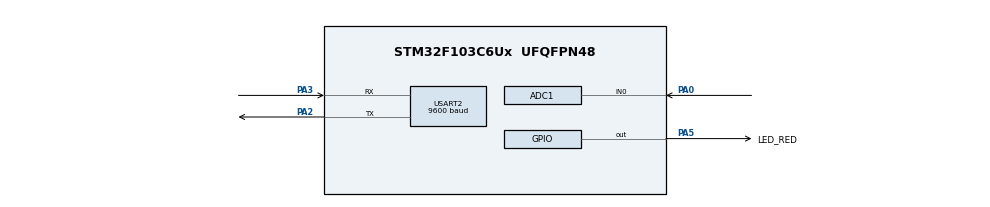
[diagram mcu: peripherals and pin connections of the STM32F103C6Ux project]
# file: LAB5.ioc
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ADC1.Channel-0\#ChannelRegularConversion=ADC_CHANNEL_0
ADC1.ContinuousConvMode=ENABLE
ADC1.NbrOfConversionFlag=1
ADC1.Rank-0\#ChannelRegularConversion=1
ADC1.SamplingTime-0\#ChannelRegularConversion=ADC_SAMPLETIME_1CYCLE_5
ADC1.master=1
Mcu.Family=STM32F1
Mcu.Name=STM32F103C6Ux
Mcu.Package=UFQFPN48
NVIC.PriorityGroup=NVIC_PRIORITYGROUP_4
NVIC.USART2_IRQn=true\:0\:0\:false\:false\:true\:true\:true
PA0-WKUP.Signal=ADCx_IN0
PA2.Mode=Asynchronous
PA2.Signal=USART2_TX
PA3.Mode=Asynchronous
PA3.Signal=USART2_RX
PA5.GPIO_Label=LED_RED
PA5.Signal=GPIO_Output
ProjectManager.HeapSize=0x200
ProjectManager.StackSize=0x400
ProjectManager.TargetToolchain=STM32CubeIDE
RCC.APB1Freq_Value=8000000
RCC.APB2Freq_Value=8000000
SH.ADCx_IN0.0=ADC1_IN0,IN0
USART2.BaudRate=9600
USART2.VirtualMode=VM_ASYNC
VP_SYS_VS_ND.Mode=No_Debug
board=custom

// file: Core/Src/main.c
/* USER CODE BEGIN Header */
/**
  ******************************************************************************
  * @file           : main.c
  * @brief          : Main program body
  ******************************************************************************
  * @attention
  *
  * <h2><center>&copy; Copyright (c) 2025 STMicroelectronics.
  * All rights reserved.</center></h2>
  *
  * This software component is licensed by ST under BSD 3-Clause license,
  * the "License"; You may not use this file except in compliance with the
  * License. You may obtain a copy of the License at:
  *                        opensource.org/licenses/BSD-3-Clause
  *
  ******************************************************************************
  */
/* USER CODE END Header */
#include "main.h"

/* USER CODE BEGIN Includes */
#include "stdio.h"
#include "string.h"
/* USER CODE END Includes */

/* USER CODE BEGIN PD */
#define MAX_BUFFER_SIZE 30
#define TIMEOUT_DURATION 3000
#define CMD_NONE 0
#define CMD_RST 1
#define CMD_OK 2
#define STATE_IDLE 0
#define STATE_WAIT_OK 1
/* USER CODE END PD */

ADC_HandleTypeDef hadc1;

UART_HandleTypeDef huart2;

/* USER CODE BEGIN PV */
uint8_t temp = 0;
uint8_t buffer[MAX_BUFFER_SIZE];
uint8_t index_buffer = 0;
uint8_t buffer_flag = 0;

uint8_t g_command_flag = CMD_NONE;
uint8_t g_communication_state = STATE_IDLE;
uint32_t g_timer_start = 0;
uint32_t g_last_adc_value = 0;
char tx_buffer[50];
/* USER CODE END PV */

void SystemClock_Config(void);
static void MX_GPIO_Init(void);
static void MX_USART2_UART_Init(void);
static void MX_ADC1_Init(void);

/* USER CODE BEGIN 0 */
void HAL_UART_RxCpltCallback(UART_HandleTypeDef *huart){
	if(huart->Instance == USART2){
		if (index_buffer < MAX_BUFFER_SIZE) {
			buffer[index_buffer++] = temp;
		}
		buffer_flag = 1;
		HAL_UART_Receive_IT(&huart2, &temp, 1);
		}
}

void command_parser_fsm() {
    if (index_buffer > 0 && buffer[index_buffer - 1] == '#') {
        if (index_buffer == 5 && strncmp((char*)buffer, "!RST#", 5) == 0) {
            g_command_flag = CMD_RST;
        }
        else if (index_buffer == 4 && strncmp((char*)buffer, "!OK#", 4) == 0) {
            g_command_flag = CMD_OK;
        }
        index_buffer = 0;
    }
    if (index_buffer >= MAX_BUFFER_SIZE) {
        index_buffer = 0;
    }
}

void uart_communiation_fsm() {
    switch (g_communication_state) {
        // === Waiting for command state ===
        case STATE_IDLE:
            // If FSM 1 -> CMD_RST
            if (g_command_flag == CMD_RST) {
                // 1. Read ADC
                g_last_adc_value = HAL_ADC_GetValue(&hadc1);
                // 2. Send !ADC=xxxx#
                sprintf(tx_buffer, "!ADC=%lu#", g_last_adc_value);
                HAL_UART_Transmit(&huart2, (uint8_t*)tx_buffer, strlen(tx_buffer), 200);
                // 3. Start timer and switch state
                g_timer_start = HAL_GetTick();
                g_communication_state = STATE_WAIT_OK;
                // 4. Delete flag
                g_command_flag = CMD_NONE;
            }
            break;
        // === Waiting OK ===
        case STATE_WAIT_OK:
            // 1. Check if OK ?
            if (g_command_flag == CMD_OK) {
                g_communication_state = STATE_IDLE;
                g_command_flag = CMD_NONE;
            }
            // 2. Check TIMEOUT (3s)
            if (HAL_GetTick() - g_timer_start > TIMEOUT_DURATION) {
                sprintf(tx_buffer, "!ADC=%lu#", g_last_adc_value);
                HAL_UART_Transmit(&huart2, (uint8_t*)tx_buffer, strlen(tx_buffer), 200);
                g_timer_start = HAL_GetTick();
            }
            break;
    }
}

/* USER CODE END 0 */

int main(void)
{

  /* MCU Configuration--------------------------------------------------------*/

  /* Reset of all peripherals, Initializes the Flash interface and the Systick. */
  HAL_Init();

  /* Configure the system clock */
  SystemClock_Config();

  /* Initialize all configured peripherals */
  MX_GPIO_Init();
  MX_USART2_UART_Init();
  MX_ADC1_Init();
  /* USER CODE BEGIN 2 */
  HAL_ADC_Start(&hadc1);
  HAL_UART_Receive_IT(&huart2, &temp, 1);
  /* USER CODE END 2 */

  /* Infinite loop */
  /* USER CODE BEGIN WHILE */
  while (1)
  {
	uart_communiation_fsm();
	if (buffer_flag == 1) {
		command_parser_fsm();
		buffer_flag = 0;
	}
	/* USER CODE END WHILE */

  }
}

void SystemClock_Config(void)
{
  RCC_OscInitTypeDef RCC_OscInitStruct = {0};
  RCC_ClkInitTypeDef RCC_ClkInitStruct = {0};
  RCC_PeriphCLKInitTypeDef PeriphClkInit = {0};

  /** Initializes the RCC Oscillators according to the specified parameters
  * in the RCC_OscInitTypeDef structure.
  */
  RCC_OscInitStruct.OscillatorType = RCC_OSCILLATORTYPE_HSI;
  RCC_OscInitStruct.HSIState = RCC_HSI_ON;
  RCC_OscInitStruct.HSICalibrationValue = RCC_HSICALIBRATION_DEFAULT;
  RCC_OscInitStruct.PLL.PLLState = RCC_PLL_NONE;
  if (HAL_RCC_OscConfig(&RCC_OscInitStruct) != HAL_OK)
  {
    Error_Handler();
  }
  /** Initializes the CPU, AHB and APB buses clocks
  */
  RCC_ClkInitStruct.ClockType = RCC_CLOCKTYPE_HCLK|RCC_CLOCKTYPE_SYSCLK
                              |RCC_CLOCKTYPE_PCLK1|RCC_CLOCKTYPE_PCLK2;
  RCC_ClkInitStruct.SYSCLKSource = RCC_SYSCLKSOURCE_HSI;
  RCC_ClkInitStruct.AHBCLKDivider = RCC_SYSCLK_DIV1;
  RCC_ClkInitStruct.APB1CLKDivider = RCC_HCLK_DIV1;
  RCC_ClkInitStruct.APB2CLKDivider = RCC_HCLK_DIV1;

  if (HAL_RCC_ClockConfig(&RCC_ClkInitStruct, FLASH_LATENCY_0) != HAL_OK)
  {
    Error_Handler();
  }
  PeriphClkInit.PeriphClockSelection = RCC_PERIPHCLK_ADC;
  PeriphClkInit.AdcClockSelection = RCC_ADCPCLK2_DIV2;
  if (HAL_RCCEx_PeriphCLKConfig(&PeriphClkInit) != HAL_OK)
  {
    Error_Handler();
  }
}

static void MX_ADC1_Init(void)
{

  ADC_ChannelConfTypeDef sConfig = {0};

  /** Common config
  */
  hadc1.Instance = ADC1;
  hadc1.Init.ScanConvMode = ADC_SCAN_DISABLE;
  hadc1.Init.ContinuousConvMode = ENABLE;
  hadc1.Init.DiscontinuousConvMode = DISABLE;
  hadc1.Init.ExternalTrigConv = ADC_SOFTWARE_START;
  hadc1.Init.DataAlign = ADC_DATAALIGN_RIGHT;
  hadc1.Init.NbrOfConversion = 1;
  if (HAL_ADC_Init(&hadc1) != HAL_OK)
  {
    Error_Handler();
  }
  /** Configure Regular Channel
  */
  sConfig.Channel = ADC_CHANNEL_0;
  sConfig.Rank = ADC_REGULAR_RANK_1;
  sConfig.SamplingTime = ADC_SAMPLETIME_1CYCLE_5;
  if (HAL_ADC_ConfigChannel(&hadc1, &sConfig) != HAL_OK)
  {
    Error_Handler();
  }

}

static void MX_USART2_UART_Init(void)
{

  huart2.Instance = USART2;
  huart2.Init.BaudRate = 9600;
  huart2.Init.WordLength = UART_WORDLENGTH_8B;
  huart2.Init.StopBits = UART_STOPBITS_1;
  huart2.Init.Parity = UART_PARITY_NONE;
  huart2.Init.Mode = UART_MODE_TX_RX;
  huart2.Init.HwFlowCtl = UART_HWCONTROL_NONE;
  huart2.Init.OverSampling = UART_OVERSAMPLING_16;
  if (HAL_UART_Init(&huart2) != HAL_OK)
  {
    Error_Handler();
  }

}

static void MX_GPIO_Init(void)
{
  GPIO_InitTypeDef GPIO_InitStruct = {0};

  /* GPIO Ports Clock Enable */
  __HAL_RCC_GPIOA_CLK_ENABLE();

  /*Configure GPIO pin Output Level */
  HAL_GPIO_WritePin(LED_RED_GPIO_Port, LED_RED_Pin, GPIO_PIN_RESET);

  /*Configure GPIO pin : LED_RED_Pin */
  GPIO_InitStruct.Pin = LED_RED_Pin;
  GPIO_InitStruct.Mode = GPIO_MODE_OUTPUT_PP;
  GPIO_InitStruct.Pull = GPIO_NOPULL;
  GPIO_InitStruct.Speed = GPIO_SPEED_FREQ_LOW;
  HAL_GPIO_Init(LED_RED_GPIO_Port, &GPIO_InitStruct);

}

void Error_Handler(void)
{
  __disable_irq();
  while (1)
  {
  }
}

/************************ (C) COPYRIGHT STMicroelectronics *****END OF FILE****/
